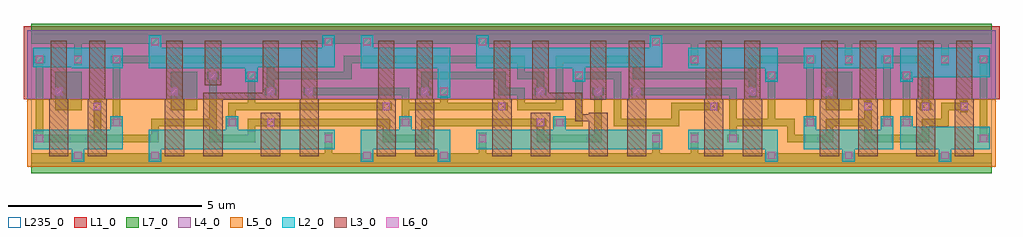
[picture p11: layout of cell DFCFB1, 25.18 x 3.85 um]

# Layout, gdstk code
import gdstk
lib = gdstk.Library(unit=1e-6, precision=1e-09)
def R(c, l, rs):  # rectangles x0, y0, x1, y1
    for r in rs: c.add(gdstk.rectangle(r[:2], r[2:], *l))
def A(c, l, x, y, w, h, nx, ny, dx, dy):  # array of equal rectangles
    R(c, l, [(x+i*dx, y+j*dy, x+i*dx+w, y+j*dy+h) for i in range(nx) for j in range(ny)])
def P(c, l, *ps):  # polygons
    for p in ps: c.add(gdstk.Polygon(p, *l))
L1_0 = (1, 0)
L2_0 = (2, 0)
L3_0 = (3, 0)
L4_0 = (4, 0)
L5_0 = (5, 0)
L6_0 = (6, 0)
L7_0 = (7, 0)
L235_0 = (235, 0)

dfcfb1 = lib.new_cell('DFCFB1')
R(dfcfb1, L1_0, [(-0.2,1.653,24.979,3.532)])
R(dfcfb1, L2_0, [(19.93,2.449,22.244,2.969)])
P(dfcfb1, L2_0, [(18.936,0.036),(18.936,0.363),(16.948,0.363),(16.948,0.863),(19.262,0.863),(19.262,0.036)],
  [(1.044,0.036),(1.044,0.363),(0.05,0.363),(0.05,0.863),(2.038,0.863),(2.038,1.209),(2.364,1.209),(2.364,0.363),(1.37,0.363),(1.37,0.036)],
  [(3.032,0.036),(3.032,0.863),(5.02,0.863),(5.02,1.209),(5.346,1.209),(5.346,0.863),(7.831,0.863),(7.831,0.363),(3.358,0.363),(3.358,0.036)],
  [(8.499,0.036),(8.499,0.863),(9.493,0.863),(9.493,1.209),(9.819,1.209),(9.819,0.863),(10.813,0.863),(10.813,0.036),(10.487,0.036),(10.487,0.363),(8.825,0.363),(8.825,0.036)],
  [(11.481,0.363),(11.481,0.863),(13.469,0.863),(13.469,1.209),(13.795,1.209),(13.795,0.863),(16.28,0.863),(16.28,0.363)],
  [(20.924,0.036),(20.924,0.363),(19.93,0.363),(19.93,1.209),(20.256,1.209),(20.256,0.863),(21.918,0.863),(21.918,1.209),(22.244,1.209),(22.244,0.363),(21.25,0.363),(21.25,0.036)],
  [(23.409,0.036),(23.409,0.363),(22.415,0.363),(22.415,1.209),(22.741,1.209),(22.741,0.943),(24.729,0.943),(24.729,0.363),(23.735,0.363),(23.735,0.036)],
  [(1.044,2.449),(1.044,2.469),(0.05,2.469),(0.05,2.969),(2.364,2.969),(2.364,2.449)],
  [(18.936,2.097),(18.936,2.449),(16.948,2.449),(16.948,2.969),(19.262,2.969),(19.262,2.097)],
  [(22.415,2.097),(22.415,2.969),(24.729,2.969),(24.729,2.209),(22.741,2.209),(22.741,2.097)],
  [(5.517,2.097),(5.517,2.449),(3.032,2.449),(3.032,3.296),(3.358,3.296),(3.358,2.969),(7.505,2.969),(7.505,3.296),(7.831,3.296),(7.831,2.469),(5.843,2.469),(5.843,2.097)],
  [(10.487,1.684),(10.487,2.449),(8.499,2.449),(8.499,3.296),(8.825,3.296),(8.825,2.969),(10.813,2.969),(10.813,1.684)],
  [(13.966,2.097),(13.966,2.449),(11.481,2.449),(11.481,3.296),(11.807,3.296),(11.807,2.969),(15.954,2.969),(15.954,3.296),(16.28,3.296),(16.28,2.469),(14.292,2.469),(14.292,2.097)])
R(dfcfb1, L3_0, [(5.927,0.177,6.427,1.296), (12.885,0.177,13.385,1.296), (14.416,1.637,14.836,3.155), (4.476,2.01,4.896,3.155)])
P(dfcfb1, L3_0, [(0.46,0.177),(0.46,1.653),(0.5,1.653),(0.5,3.155),(0.92,3.155),(0.92,1.653),(0.96,1.653),(0.96,0.177)],
  [(1.454,0.177),(1.454,1.653),(1.494,1.653),(1.494,3.155),(1.914,3.155),(1.914,1.653),(1.954,1.653),(1.954,0.177)],
  [(3.442,0.177),(3.442,1.653),(3.482,1.653),(3.482,3.155),(3.902,3.155),(3.902,1.653),(3.942,1.653),(3.942,0.177)],
  [(4.436,0.177),(4.436,1.809),(5.967,1.809),(5.967,3.155),(6.387,3.155),(6.387,1.629),(4.936,1.629),(4.936,0.177)],
  [(6.921,0.177),(6.921,1.653),(6.961,1.653),(6.961,3.155),(7.381,3.155),(7.381,1.653),(7.421,1.653),(7.421,0.177)],
  [(8.909,0.177),(8.909,1.653),(8.949,1.653),(8.949,3.155),(9.369,3.155),(9.369,1.653),(9.409,1.653),(9.409,0.177)],
  [(9.903,0.177),(9.903,1.653),(9.943,1.653),(9.943,3.155),(10.363,3.155),(10.363,1.653),(10.403,1.653),(10.403,0.177)],
  [(11.891,0.177),(11.891,1.653),(11.931,1.653),(11.931,3.155),(12.351,3.155),(12.351,1.653),(12.391,1.653),(12.391,0.177)],
  [(14.376,0.177),(14.376,1.084),(14.039,1.084),(14.039,1.629),(12.925,1.629),(12.925,3.155),(13.345,3.155),(13.345,1.809),(14.219,1.809),(14.219,1.264),(14.376,1.264),(14.376,1.296),(14.876,1.296),(14.876,0.177)],
  [(15.37,0.177),(15.37,1.653),(15.41,1.653),(15.41,3.155),(15.83,3.155),(15.83,1.653),(15.87,1.653),(15.87,0.177)],
  [(17.358,0.177),(17.358,1.653),(17.398,1.653),(17.398,3.155),(17.818,3.155),(17.818,1.653),(17.858,1.653),(17.858,0.177)],
  [(18.352,0.177),(18.352,1.653),(18.392,1.653),(18.392,3.155),(18.812,3.155),(18.812,1.653),(18.852,1.653),(18.852,0.177)],
  [(20.34,0.177),(20.34,1.653),(20.38,1.653),(20.38,3.155),(20.8,3.155),(20.8,1.653),(20.84,1.653),(20.84,0.177)],
  [(21.334,0.177),(21.334,1.653),(21.374,1.653),(21.374,3.155),(21.794,3.155),(21.794,1.653),(21.834,1.653),(21.834,0.177)],
  [(22.825,0.177),(22.825,1.653),(22.865,1.653),(22.865,3.155),(23.285,3.155),(23.285,1.653),(23.325,1.653),(23.325,0.177)],
  [(23.819,0.177),(23.819,1.653),(23.859,1.653),(23.859,3.155),(24.279,3.155),(24.279,1.653),(24.319,1.653),(24.319,0.177)])
R(dfcfb1, L4_0, [(-0.1,1.653,24.879,3.432)])
R(dfcfb1, L5_0, [(-0.1,-0.1,24.879,1.653)])
A(dfcfb1, L6_0, 16.024, 0.54, 0.186, 0.186, 3, 1, 0.994, 0)
A(dfcfb1, L6_0, 6.084, 0.953, 0.186, 0.186, 3, 1, 3.479, 0)
A(dfcfb1, L6_0, 0.12, 2.58, 0.186, 0.186, 3, 1, 0.994, 0)
A(dfcfb1, L6_0, 20, 2.58, 0.186, 0.186, 3, 1, 0.994, 0)
R(dfcfb1, L6_0, [(1.114,0.106,1.3,0.292), (3.102,0.106,3.288,0.292), (8.569,0.106,8.755,0.292), (10.557,0.106,10.743,0.292), (19.006,0.106,19.192,0.292), (20.994,0.106,21.18,0.292), (23.479,0.106,23.665,0.292), (0.12,0.54,0.306,0.726), (7.575,0.54,7.761,0.726), (11.551,0.54,11.737,0.726), (24.473,0.54,24.659,0.726), (2.108,0.953,2.294,1.139), (5.09,0.953,5.276,1.139), (13.539,0.953,13.725,1.139), (20,0.953,20.186,1.139), (21.988,0.953,22.174,1.139), (22.485,0.953,22.671,1.139), (1.611,1.366,1.797,1.552), (9.066,1.366,9.252,1.552), (12.048,1.366,12.234,1.552), (17.515,1.366,17.701,1.552), (21.491,1.366,21.677,1.552), (22.982,1.366,23.168,1.552), (23.976,1.366,24.162,1.552), (0.617,1.754,0.803,1.94), (3.599,1.754,3.785,1.94), (6.084,1.754,6.27,1.94), (7.078,1.754,7.264,1.94), (10.06,1.754,10.246,1.94), (10.557,1.754,10.743,1.94), (13.042,1.754,13.228,1.94), (14.533,1.754,14.719,1.94), (15.527,1.754,15.713,1.94), (18.509,1.754,18.695,1.94), (20.497,1.754,20.683,1.94), (4.593,2.167,4.779,2.353), (5.587,2.167,5.773,2.353), (14.036,2.167,14.222,2.353), (19.006,2.167,19.192,2.353), (22.485,2.167,22.671,2.353), (17.018,2.58,17.204,2.766), (23.479,2.58,23.665,2.766), (24.473,2.58,24.659,2.766), (3.102,3.04,3.288,3.226), (7.575,3.04,7.761,3.226), (8.569,3.04,8.755,3.226), (11.551,3.04,11.737,3.226), (16.024,3.04,16.21,3.226)])
R(dfcfb1, L7_0, [(0.613,1.362,1.304,2.357), (3.595,1.362,4.286,2.357), (20.493,1.362,21.184,2.357)])
P(dfcfb1, L7_0, [(0,-0.26),(0,0.26),(1.11,0.26),(1.11,0.296),(1.304,0.296),(1.304,0.26),(3.098,0.26),(3.098,0.296),(3.292,0.296),(3.292,0.26),(7.571,0.26),(7.571,0.776),(7.765,0.776),(7.765,0.26),(8.565,0.26),(8.565,0.296),(8.759,0.296),(8.759,0.26),(10.553,0.26),(10.553,0.296),(10.747,0.296),(10.747,0.26),(11.547,0.26),(11.547,0.776),(11.741,0.776),(11.741,0.26),(16.02,0.26),(16.02,0.776),(16.214,0.776),(16.214,0.26),(17.014,0.26),(17.014,0.776),(17.208,0.776),(17.208,0.26),(19.002,0.26),(19.002,0.296),(19.196,0.296),(19.196,0.26),(20.99,0.26),(20.99,0.296),(21.184,0.296),(21.184,0.26),(23.475,0.26),(23.475,0.296),(23.669,0.296),(23.669,0.26),(24.779,0.26),(24.779,-0.26)],
  [(9.509,0.949),(9.509,1.143),(9.559,1.143),(9.559,1.75),(7.024,1.75),(7.024,1.944),(9.753,1.944),(9.753,1.556),(10.553,1.556),(10.553,1.75),(10.503,1.75),(10.503,1.944),(10.797,1.944),(10.797,1.75),(10.747,1.75),(10.747,1.556),(12.288,1.556),(12.288,1.362),(9.753,1.362),(9.753,1.143),(9.803,1.143),(9.803,0.949)],
  [(5.036,0.949),(5.036,1.143),(5.086,1.143),(5.086,1.556),(5.583,1.556),(5.583,2.163),(5.533,2.163),(5.533,2.357),(5.827,2.357),(5.827,2.163),(5.777,2.163),(5.777,1.556),(9.306,1.556),(9.306,1.362),(5.28,1.362),(5.28,1.143),(5.33,1.143),(5.33,0.949)],
  [(13.485,0.949),(13.485,1.143),(14.032,1.143),(14.032,2.163),(13.982,2.163),(13.982,2.357),(15.22,2.357),(15.22,1.143),(16.517,1.143),(16.517,1.556),(17.755,1.556),(17.755,1.362),(16.711,1.362),(16.711,0.949),(15.026,0.949),(15.026,2.163),(14.226,2.163),(14.226,0.949)],
  [(17.958,0.536),(17.958,0.73),(18.008,0.73),(18.008,1.75),(15.473,1.75),(15.473,1.944),(18.202,1.944),(18.202,1.143),(19.002,1.143),(19.002,2.163),(18.952,2.163),(18.952,2.357),(19.246,2.357),(19.246,2.163),(19.196,2.163),(19.196,1.143),(19.693,1.143),(19.693,0.73),(20.493,0.73),(20.493,1.143),(21.487,1.143),(21.487,1.606),(21.681,1.606),(21.681,0.73),(22.978,0.73),(22.978,1.143),(23.475,1.143),(23.475,1.556),(23.972,1.556),(23.972,1.606),(24.166,1.606),(24.166,1.312),(23.972,1.312),(23.972,1.362),(23.669,1.362),(23.669,0.949),(23.172,0.949),(23.172,0.536),(21.487,0.536),(21.487,0.949),(20.687,0.949),(20.687,0.536),(19.499,0.536),(19.499,0.949),(18.202,0.949),(18.202,0.73),(18.252,0.73),(18.252,0.536)],
  [(22.431,0.949),(22.431,1.143),(22.481,1.143),(22.481,2.163),(22.431,2.163),(22.431,2.357),(22.725,2.357),(22.725,2.163),(22.675,2.163),(22.675,1.143),(22.725,1.143),(22.725,0.949)],
  [(0.066,0.536),(0.066,0.73),(0.116,0.73),(0.116,2.576),(0.066,2.576),(0.066,2.77),(0.36,2.77),(0.36,2.576),(0.31,2.576),(0.31,0.73),(1.607,0.73),(1.607,1.606),(1.801,1.606),(1.801,0.73),(3.098,0.73),(3.098,1.143),(4.589,1.143),(4.589,2.163),(4.539,2.163),(4.539,2.357),(4.833,2.357),(4.833,2.163),(4.783,2.163),(4.783,0.73),(5.583,0.73),(5.583,1.143),(9.256,1.143),(9.256,0.73),(10.056,0.73),(10.056,1.143),(13.282,1.143),(13.282,0.949),(13.232,0.949),(13.232,0.73),(14.529,0.73),(14.529,1.75),(14.479,1.75),(14.479,1.944),(14.773,1.944),(14.773,1.75),(14.723,1.75),(14.723,0.536),(13.038,0.536),(13.038,0.949),(10.25,0.949),(10.25,0.536),(9.062,0.536),(9.062,0.949),(5.777,0.949),(5.777,0.536),(4.589,0.536),(4.589,0.949),(3.292,0.949),(3.292,0.536)],
  [(2.054,0.949),(2.054,1.143),(2.104,1.143),(2.104,2.576),(2.054,2.576),(2.054,2.77),(6.274,2.77),(6.274,2.357),(8.068,2.357),(8.068,2.77),(12.735,2.77),(12.735,2.357),(13.232,2.357),(13.232,1.944),(13.282,1.944),(13.282,1.75),(12.988,1.75),(12.988,1.944),(13.038,1.944),(13.038,2.163),(12.541,2.163),(12.541,2.576),(8.262,2.576),(8.262,2.163),(6.274,2.163),(6.274,1.944),(6.324,1.944),(6.324,1.75),(6.03,1.75),(6.03,1.944),(6.08,1.944),(6.08,2.576),(2.298,2.576),(2.298,1.143),(2.348,1.143),(2.348,0.949)],
  [(19.946,0.949),(19.946,1.143),(19.996,1.143),(19.996,2.576),(18.699,2.576),(18.699,1.7),(18.505,1.7),(18.505,2.163),(15.523,2.163),(15.523,2.576),(13.729,2.576),(13.729,1.362),(12.541,1.362),(12.541,1.75),(12.044,1.75),(12.044,2.163),(10.25,2.163),(10.25,1.944),(10.3,1.944),(10.3,1.75),(10.006,1.75),(10.006,1.944),(10.056,1.944),(10.056,2.357),(12.238,2.357),(12.238,1.944),(12.735,1.944),(12.735,1.556),(13.535,1.556),(13.535,2.77),(15.717,2.77),(15.717,2.357),(18.505,2.357),(18.505,2.77),(20.24,2.77),(20.24,2.576),(20.19,2.576),(20.19,1.143),(20.24,1.143),(20.24,0.949)],
  [(21.934,0.949),(21.934,1.143),(21.984,1.143),(21.984,2.576),(21.934,2.576),(21.934,2.77),(23.172,2.77),(23.172,1.556),(23.222,1.556),(23.222,1.362),(22.928,1.362),(22.928,1.556),(22.978,1.556),(22.978,2.576),(22.178,2.576),(22.178,1.143),(22.228,1.143),(22.228,0.949)],
  [(24.419,0.536),(24.419,0.73),(24.469,0.73),(24.469,2.576),(24.419,2.576),(24.419,2.77),(24.713,2.77),(24.713,2.576),(24.663,2.576),(24.663,0.73),(24.713,0.73),(24.713,0.536)],
  [(1.11,2.53),(1.11,3.072),(0,3.072),(0,3.592),(24.779,3.592),(24.779,3.072),(23.669,3.072),(23.669,2.53),(23.475,2.53),(23.475,3.072),(21.184,3.072),(21.184,2.53),(20.99,2.53),(20.99,3.072),(17.208,3.072),(17.208,2.53),(17.014,2.53),(17.014,3.072),(16.214,3.072),(16.214,3.036),(16.02,3.036),(16.02,3.072),(11.741,3.072),(11.741,3.036),(11.547,3.036),(11.547,3.072),(8.759,3.072),(8.759,3.036),(8.565,3.036),(8.565,3.072),(7.765,3.072),(7.765,3.036),(7.571,3.036),(7.571,3.072),(3.292,3.072),(3.292,3.036),(3.098,3.036),(3.098,3.072),(1.304,3.072),(1.304,2.53)])
R(dfcfb1, L235_0, [(0,0,24.779,3.332)])

lib.write_gds('DFCFB1.gds')
